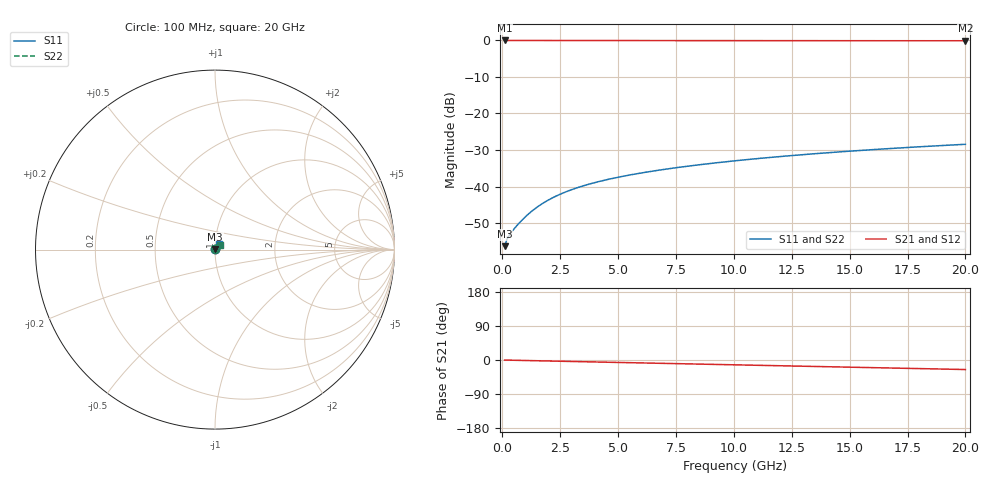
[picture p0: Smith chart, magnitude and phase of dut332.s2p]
! Touchstone file exported from HFSS 2026.1.0
!  File:  C:/ffzhzh/LocalFiles/Ansys_Project_Files/temp_train_TMRDL_332_1783003665_46388.aedt
!  Generated:  10:49:06 PM Jul  2, 2026
!  Design:  TMRDL
!  Project:  temp_train_TMRDL_332_1783003665_46388
! Variables:
!  h_bsmrdl = 2um
!  h_ox = 20um
!  h_rdl = 5um
!  h_sub = 80um
!  h_tmrdl = 5.73um
!  h_tsv = 80um
!  h_via = 3um
!  l_bsmrdl = 300um
!  l_sub = 843.82um
!  l_tmrdl = 443.82um
!  m_sub = 200um
!  pitch = 30.12um
!  r_tsv = 6um
!  s_tmrdl = 10um
!  w_bsmrdl = 18um
!  w_sub = 500um
!  w_tmrdl = 23.34um
!  x_tsv_center1 = 455.49um
!  x_tsv_center2 = 773.49um
!  x_tsv_center3 = 1240.65um
!  x_tsv_center4 = 1558.65um
!  x_tsv_center5 = 2025.81um
!  x_tsv_center6 = 2343.81um
# GHz S MA R 50.000000
! Terminal data exported
! Port[1] = TM_RDL1_1_T1
! Port[2] = TM_RDL1_1_T2
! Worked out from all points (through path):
!   200 points, 100 MHz to 20 GHz, reference 50 ohm
!   highest |S21| = -0.01 dB at 100 MHz (marker M1); lowest = -0.1 dB at 20 GHz (marker M2)
!   group delay of S21, straight-line fit = 3.48 ps
!   lowest |S11| = -56.3 dB at 100 MHz (marker M3), VSWR 1.00, Z = 50.1 + j0.0585 ohm
!   |S11| at or under -10 dB: start of sweep to end of sweep
!   |S22| runs from -56.3 to -28.4 dB; largest |S21 - S12| = 1e-14
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0.1  0.001529 22.4  0.9986 -0.1  0.9986 -0.1  0.001529 22.4
! Gamma 0 0 0 0
! Port Impedance 50 0 50 0
0.2  0.001888 30.3  0.9984 -0.3  0.9984 -0.3  0.001889 30.4
0.3  0.00216 34.8  0.9982 -0.4  0.9982 -0.4  0.002162 34.8
0.5  0.002621 42.2  0.998 -0.7  0.998 -0.7  0.002623 42.2
0.7  0.003095 48.3  0.9979 -0.9  0.9979 -0.9  0.003097 48.3
0.9  0.003604 52.7  0.9978 -1.2  0.9978 -1.2  0.003605 52.7
1.1  0.004135 55.9  0.9977 -1.5  0.9977 -1.5  0.004135 55.9
1.4  0.00495 59.0  0.9975 -1.9  0.9975 -1.9  0.00495 59.0
1.8  0.006036 61.2  0.9972 -2.4  0.9972 -2.4  0.006036 61.2
2.3  0.007353 62.3  0.9969 -3.0  0.9969 -3.0  0.007352 62.3
2.9  0.008846 62.6  0.9964 -3.8  0.9964 -3.8  0.008846 62.5
3.5  0.01024 62.3  0.9959 -4.6  0.9959 -4.6  0.01025 62.3
4.2  0.01177 61.9  0.9954 -5.5  0.9954 -5.5  0.01177 61.9
4.9  0.01321 61.4  0.9949 -6.3  0.9949 -6.3  0.01321 61.4
5.8  0.01497 60.7  0.9943 -7.5  0.9943 -7.5  0.01497 60.7
6.8  0.01683 60.0  0.9937 -8.7  0.9937 -8.7  0.01684 60.0
8.3  0.01952 59.0  0.993 -10.6  0.993 -10.6  0.01953 58.9
10.1  0.02261 57.6  0.9921 -12.8  0.9921 -12.8  0.02262 57.5
11.7  0.02527 56.3  0.9915 -14.8  0.9915 -14.8  0.02528 56.2
13.4  0.02801 54.9  0.9908 -17.0  0.9908 -17.0  0.02803 54.8
16.7  0.03309 51.8  0.9895 -21.1  0.9895 -21.1  0.03312 51.7
20  0.03788 48.6  0.9884 -25.1  0.9884 -25.1  0.03792 48.5
